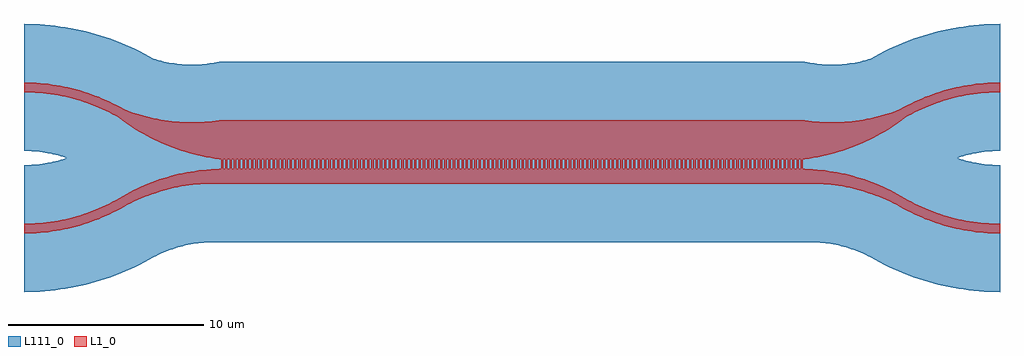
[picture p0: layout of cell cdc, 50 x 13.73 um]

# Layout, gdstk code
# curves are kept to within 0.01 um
import gdstk
lib = gdstk.Library(unit=1e-6, precision=1e-09)
def R(c, l, rs):  # rectangles x0, y0, x1, y1
    for r in rs: c.add(gdstk.rectangle(r[:2], r[2:], *l))
def A(c, l, x, y, w, h, nx, ny, dx, dy):  # array of equal rectangles
    R(c, l, [(x+i*dx, y+j*dy, x+i*dx+w, y+j*dy+h) for i in range(nx) for j in range(ny)])
def P(c, l, *ps):  # polygons
    for p in ps: c.add(gdstk.Polygon(p, *l))
L1_0 = (1, 0)
L111_0 = (111, 0)

cdc = lib.new_cell('cdc')
A(cdc, L1_0, 10.095, -4.179, 0.11, 0.25, 136, 2, 0.22, 0.25)
R(cdc, L1_0, [(10,-4.929,40,-4.179), (10,-3.679,40,-1.679)])
P(cdc, L1_0, [(0,0.25),(0.619,0.231),(1.236,0.175),(2.05,0.043),(2.653,-0.099),(3.441,-0.345),(4.018,-0.57),(4.58,-0.83),(5.125,-1.123),(4.875,-1.556),(4.356,-1.277),(3.822,-1.03),(3.088,-0.752),(2.523,-0.582),(1.95,-0.447),(1.175,-0.321),(0.589,-0.268),(0,-0.25)],
  [(4.875,-1.556),(5.556,-2.044),(6.098,-2.376),(6.663,-2.676),(7.25,-2.942),(7.857,-3.175),(8.695,-3.427),(9.341,-3.573),(10,-3.679),(10,-1.679),(9.451,-1.749),(8.894,-1.786),(8.142,-1.78),(7.574,-1.735),(6.814,-1.619),(6.246,-1.49),(5.682,-1.325),(5.125,-1.123)],
  [(40,-3.679),(40.659,-3.573),(41.305,-3.427),(42.143,-3.175),(42.75,-2.942),(43.337,-2.676),(43.902,-2.376),(44.444,-2.044),(45.125,-1.556),(44.875,-1.123),(44.318,-1.325),(43.754,-1.49),(43.186,-1.619),(42.426,-1.735),(41.858,-1.78),(41.106,-1.786),(40.549,-1.749),(40,-1.679)],
  [(44.875,-1.123),(45.42,-0.83),(45.982,-0.57),(46.559,-0.345),(47.347,-0.099),(47.95,0.043),(48.764,0.175),(49.381,0.231),(50,0.25),(50,-0.25),(49.411,-0.268),(48.825,-0.321),(48.05,-0.447),(47.477,-0.582),(46.912,-0.752),(46.178,-1.03),(45.644,-1.277),(45.125,-1.556)],
  [(0,-7.484),(0.619,-7.465),(1.236,-7.409),(2.05,-7.277),(2.653,-7.135),(3.441,-6.889),(4.018,-6.664),(4.58,-6.404),(5.125,-6.111),(4.875,-5.678),(4.356,-5.957),(3.822,-6.204),(3.088,-6.482),(2.523,-6.652),(1.95,-6.787),(1.175,-6.913),(0.589,-6.966),(0,-6.984)],
  [(4.875,-5.678),(5.414,-5.372),(6.16,-5.014),(6.739,-4.786),(7.331,-4.593),(7.934,-4.436),(8.753,-4.284),(9.374,-4.213),(10,-4.179),(10,-4.929),(9.418,-4.933),(8.836,-4.971),(8.065,-5.077),(7.493,-5.197),(6.741,-5.411),(6.19,-5.611),(5.65,-5.845),(5.125,-6.111)],
  [(40,-4.179),(40.626,-4.213),(41.247,-4.284),(42.066,-4.436),(42.669,-4.593),(43.261,-4.786),(43.84,-5.014),(44.586,-5.372),(45.125,-5.678),(44.875,-6.111),(44.35,-5.845),(43.81,-5.611),(43.259,-5.411),(42.507,-5.197),(41.935,-5.077),(41.164,-4.971),(40.582,-4.933),(40,-4.929)],
  [(44.875,-6.111),(45.42,-6.404),(45.982,-6.664),(46.559,-6.889),(47.347,-7.135),(47.95,-7.277),(48.764,-7.409),(49.381,-7.465),(50,-7.484),(50,-6.984),(49.411,-6.966),(48.825,-6.913),(48.05,-6.787),(47.477,-6.652),(46.912,-6.482),(46.178,-6.204),(45.644,-5.957),(45.125,-5.678)])
R(cdc, L111_0, [(10,-7.929,40,-1.179), (10,-6.679,40,1.321)])
P(cdc, L111_0, [(0,3.25),(0.8,3.226),(1.332,3.183),(1.862,3.119),(2.65,2.982),(3.429,2.799),(4.196,2.568),(4.699,2.389),(5.194,2.19),(5.92,1.854),(6.625,1.475),(3.375,-4.154),(3.016,-3.961),(2.646,-3.79),(2.138,-3.597),(1.747,-3.48),(1.35,-3.386),(0.814,-3.299),(0.408,-3.262),(0,-3.25)],
  [(3.375,-4.154),(4.041,-4.611),(4.503,-4.894),(4.978,-5.159),(5.713,-5.521),(6.474,-5.84),(6.994,-6.028),(7.523,-6.195),(8.333,-6.406),(9.16,-6.568),(10,-6.679),(10,1.321),(9.633,1.245),(9.129,1.18),(8.742,1.159),(8.218,1.169),(7.821,1.207),(7.422,1.27),(7.023,1.359),(6.625,1.475)],
  [(40,-6.679),(40.84,-6.568),(41.667,-6.406),(42.477,-6.195),(43.006,-6.028),(43.526,-5.84),(44.287,-5.521),(45.022,-5.159),(45.497,-4.894),(45.959,-4.611),(46.625,-4.154),(43.375,1.475),(42.977,1.359),(42.578,1.27),(42.179,1.207),(41.782,1.169),(41.258,1.159),(40.871,1.18),(40.367,1.245),(40,1.321)],
  [(43.375,1.475),(44.08,1.854),(44.806,2.19),(45.301,2.389),(45.804,2.568),(46.571,2.799),(47.35,2.982),(48.138,3.119),(48.668,3.183),(49.2,3.226),(50,3.25),(50,-3.25),(49.592,-3.262),(49.186,-3.299),(48.65,-3.386),(48.253,-3.48),(47.862,-3.597),(47.354,-3.79),(46.984,-3.961),(46.625,-4.154)],
  [(0,-10.484),(0.8,-10.46),(1.332,-10.417),(1.862,-10.353),(2.65,-10.216),(3.429,-10.033),(4.196,-9.802),(4.699,-9.623),(5.194,-9.424),(5.92,-9.088),(6.625,-8.709),(3.375,-3.08),(3.016,-3.273),(2.646,-3.444),(2.138,-3.637),(1.747,-3.754),(1.35,-3.848),(0.814,-3.935),(0.408,-3.972),(0,-3.984)],
  [(3.375,-3.08),(3.838,-2.814),(4.312,-2.566),(5.04,-2.231),(5.789,-1.941),(6.554,-1.696),(7.334,-1.497),(8.126,-1.345),(8.658,-1.271),(9.193,-1.218),(10,-1.179),(10,-7.929),(9.599,-7.927),(9.198,-7.949),(8.798,-7.995),(8.269,-8.095),(7.878,-8.197),(7.366,-8.371),(6.991,-8.529),(6.625,-8.709)],
  [(40,-1.179),(40.807,-1.218),(41.342,-1.271),(41.874,-1.345),(42.666,-1.497),(43.446,-1.696),(44.211,-1.941),(44.96,-2.231),(45.688,-2.566),(46.162,-2.814),(46.625,-3.08),(43.375,-8.709),(43.009,-8.529),(42.634,-8.371),(42.122,-8.197),(41.731,-8.095),(41.202,-7.995),(40.802,-7.949),(40.401,-7.927),(40,-7.929)],
  [(43.375,-8.709),(44.08,-9.088),(44.806,-9.424),(45.301,-9.623),(45.804,-9.802),(46.571,-10.033),(47.35,-10.216),(48.138,-10.353),(48.668,-10.417),(49.2,-10.46),(50,-10.484),(50,-3.984),(49.592,-3.972),(49.186,-3.935),(48.65,-3.848),(48.253,-3.754),(47.862,-3.637),(47.354,-3.444),(46.984,-3.273),(46.625,-3.08)])

lib.write_gds('cdc.gds')
